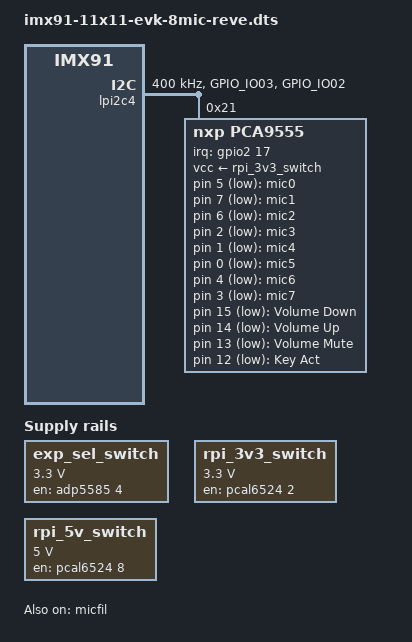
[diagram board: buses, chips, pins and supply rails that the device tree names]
// SPDX-License-Identifier: (GPL-2.0+ OR MIT)
/*
 * Copyright 2025 NXP
 */

#include "imx91-11x11-evk.dts"

/ {
	mic_leds {
		compatible = "gpio-leds";
		mic0 {
			label = "mic0";
			gpios = <&pca9555 5 GPIO_ACTIVE_LOW>;
			default-state = "off";
		};
		mic1 {
			label = "mic1";
			gpios = <&pca9555 7 GPIO_ACTIVE_LOW>;
			default-state = "off";
		};
		mic2 {
			label = "mic2";
			gpios = <&pca9555 6 GPIO_ACTIVE_LOW>;
			default-state = "off";
		};
		mic3 {
			label = "mic3";
			gpios = <&pca9555 2 GPIO_ACTIVE_LOW>;
			default-state = "off";
		};
		mic4 {
			label = "mic4";
			gpios = <&pca9555 1 GPIO_ACTIVE_LOW>;
			default-state = "off";
		};
		mic5 {
			label = "mic5";
			gpios = <&pca9555 0 GPIO_ACTIVE_LOW>;
			default-state = "off";
		};
		mic6 {
			label = "mic6";
			gpios = <&pca9555 4 GPIO_ACTIVE_LOW>;
			default-state = "off";
		};
		mic7 {
			label = "mic7";
			gpios = <&pca9555 3 GPIO_ACTIVE_LOW>;
			default-state = "off";
		};
	};

	sw_keys {
		compatible = "gpio-keys";

		sw4: volume_down {
			label = "Volume Down";
			gpios = <&pca9555 15 GPIO_ACTIVE_LOW>;
			linux,code = <KEY_VOLUMEDOWN>;
			interrupt-parent = <&pca9555>;
			interrupts = <15 IRQ_TYPE_LEVEL_LOW>;
		};

		sw3: volume_up {
			label = "Volume Up";
			gpios = <&pca9555 14 GPIO_ACTIVE_LOW>;
			linux,code = <KEY_VOLUMEUP>;
			interrupt-parent = <&pca9555>;
			interrupts = <14 IRQ_TYPE_LEVEL_LOW>;
		};

		sw2: volume_mute {
			label = "Volume Mute";
			gpios = <&pca9555 13 GPIO_ACTIVE_LOW>;
			linux,code = <KEY_MUTE>;
			interrupt-parent = <&pca9555>;
			interrupts = <13 IRQ_TYPE_LEVEL_LOW>;
		};

		sw1: key_act {
			label = "Key Act";
			gpios = <&pca9555 12 GPIO_ACTIVE_LOW>;
			linux,code = <KEY_F9>;
			interrupt-parent = <&pca9555>;
			interrupts = <12 IRQ_TYPE_LEVEL_LOW>;
		};
	};

	exp_sel_switch: regulator-sel-switch {
		compatible = "regulator-fixed";
		regulator-name = "exp-sel-switch";
		regulator-min-microvolt = <3300000>;
		regulator-max-microvolt = <3300000>;
		gpio = <&adp5585 4 GPIO_ACTIVE_HIGH>;
		enable-active-high;
		regulator-always-on;
	};

	rpi_3v3_switch: regulator-3v3-switch {
		compatible = "regulator-fixed";
		regulator-name = "rpi-3v3-switch";
		regulator-min-microvolt = <3300000>;
		regulator-max-microvolt = <3300000>;
		gpio = <&pcal6524 2 GPIO_ACTIVE_HIGH>;
		enable-active-high;
		regulator-always-on;
	};

	rpi_5v_switch: regulator-5v-switch {
		compatible = "regulator-fixed";
		regulator-name = "rpi-5v-switch";
		regulator-min-microvolt = <5000000>;
		regulator-max-microvolt = <5000000>;
		gpio = <&pcal6524 8 GPIO_ACTIVE_HIGH>;
		enable-active-high;
		regulator-always-on;
	};

	sound-micfil {
		pinctrl-names = "default";
		pinctrl-0 = <&pinctrl_swpdm_mute_irq>;
	};

	sound-wm8962 {
		status = "disabled";
	};
};

&adp5585 {
	exp-sel-hog {
		status = "disabled";
	};
};

&dmic {
	num-channels = <8>;
};

&sai3 {
	status = "disabled";
};

&codec {
	status = "disabled";
};

&micfil {
	pinctrl-names = "default";
	pinctrl-0 = <&pinctrl_pdm2>;
	status = "okay";
};

&lpi2c4 {
	clock-frequency = <400000>;
	dmas = <&edma2 10 0 0>, <&edma2 11 0 1>;
	dma-names = "tx","rx";
	pinctrl-names = "default";
	pinctrl-0 = <&pinctrl_lpi2c4>;
	status = "okay";

	pca9555: gpio@21 {
		compatible = "nxp,pca9555";
		pinctrl-names = "default";
		pinctrl-0 = <&pinctrl_pushbutton_irq>;
		reg = <0x21>;
		gpio-controller;
		#gpio-cells = <2>;
		interrupt-controller;
		#interrupt-cells = <2>;
		interrupt-parent = <&gpio2>;
		interrupts = <17 IRQ_TYPE_LEVEL_LOW>;
		vcc-supply = <&rpi_3v3_switch>;
		status = "okay";
	};
};

&iomuxc {
	pinctrl_swpdm_mute_irq: swpdm_mute_grp {
		fsl,pins = <
			MX91_PAD_GPIO_IO04__GPIO2_IO4		0x31e
		>;
	};

	pinctrl_pushbutton_irq: pushbutton_grp {
		fsl,pins = <
			MX91_PAD_GPIO_IO17__GPIO2_IO17		0x31e
		>;
	};

	pinctrl_pdm2: pdm2grp {
		fsl,pins = <
			MX91_PAD_GPIO_IO21__PDM_CLK		0x31e
			MX91_PAD_GPIO_IO20__PDM_BIT_STREAM0	0x31e
			MX91_PAD_GPIO_IO26__PDM_BIT_STREAM1	0x31e
			MX91_PAD_GPIO_IO16__PDM_BIT_STREAM2	0x31e
			MX91_PAD_GPIO_IO19__PDM_BIT_STREAM3	0x31e
		>;
	};

	pinctrl_lpi2c4: lpi2c4grp {
		fsl,pins = <
			MX91_PAD_GPIO_IO03__LPI2C4_SCL		0x40000b9e
			MX91_PAD_GPIO_IO02__LPI2C4_SDA		0x40000b9e
		>;
	};
};
